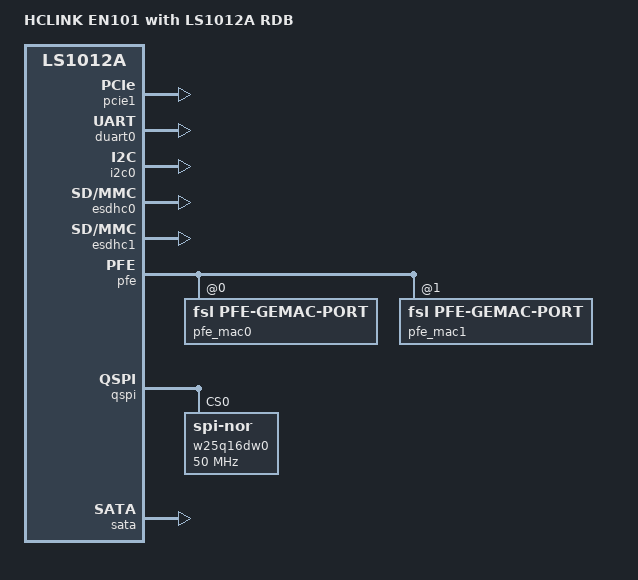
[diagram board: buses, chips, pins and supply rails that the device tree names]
// SPDX-License-Identifier: (GPL-2.0+ OR MIT)
/*
 * Device Tree file for Freescale LS1012A RDB Board.
 *
 * Copyright 2016 Freescale Semiconductor, Inc.
 *
 */
/dts-v1/;

#include "fsl-ls1012a.dtsi"

/ {
	model = "HCLINK EN101 with LS1012A RDB";
	compatible = "fsl,ls1012a-rdb", "fsl,ls1012a";

	aliases {
		ethernet0 = &pfe_mac0;
		ethernet1 = &pfe_mac1;
	};
};

&pcie1 {
	status = "okay";
};

&duart0 {
	status = "okay";
};

&i2c0 {
	status = "okay";
};

&esdhc0 {
	status = "okay";
};

&esdhc1 {
	mmc-hs200-1_8v;
	status = "okay";
};

&pfe {
	status = "okay";
	#address-cells = <1>;
	#size-cells = <0>;

	pfe_mac0: ethernet@0 {
		compatible = "fsl,pfe-gemac-port";
		#address-cells = <1>;
		#size-cells = <0>;
		reg = <0x0>;	/* GEM_ID */
		fsl,gemac-bus-id = <0x0>;	/* BUS_ID */
		fsl,gemac-phy-id = <0x2>;	/* PHY_ID */
		fsl,mdio-mux-val = <0x0>;
		phy-mode = "sgmii";
		fsl,pfe-phy-if-flags = <0x0>;

		mdio@0 {
			reg = <0x1>; /* enabled/disabled */
		};
	};

	pfe_mac1: ethernet@1 {
		compatible = "fsl,pfe-gemac-port";
		#address-cells = <1>;
		#size-cells = <0>;
		reg = <0x1>;	/* GEM_ID */
		fsl,gemac-bus-id = < 0x1 >;	/* BUS_ID */
		fsl,gemac-phy-id = < 0x1 >;	/* PHY_ID */
		fsl,mdio-mux-val = <0x0>;
		phy-mode = "rgmii-txid";
		fsl,pfe-phy-if-flags = <0x0>;

		mdio@0 {
			reg = <0x0>; /* enabled/disabled */
		};
	};
};

&qspi {
	status = "okay";

	w25q16dw0: flash@0 {
		compatible = "jedec,spi-nor";
		#address-cells = <1>;
		#size-cells = <1>;
		spi-max-frequency = <50000000>;
		m25p,fast-read;
		reg = <0>;
		spi-rx-bus-width = <2>;
		spi-tx-bus-width = <2>;
	};
};

&sata {
	status = "okay";
};
